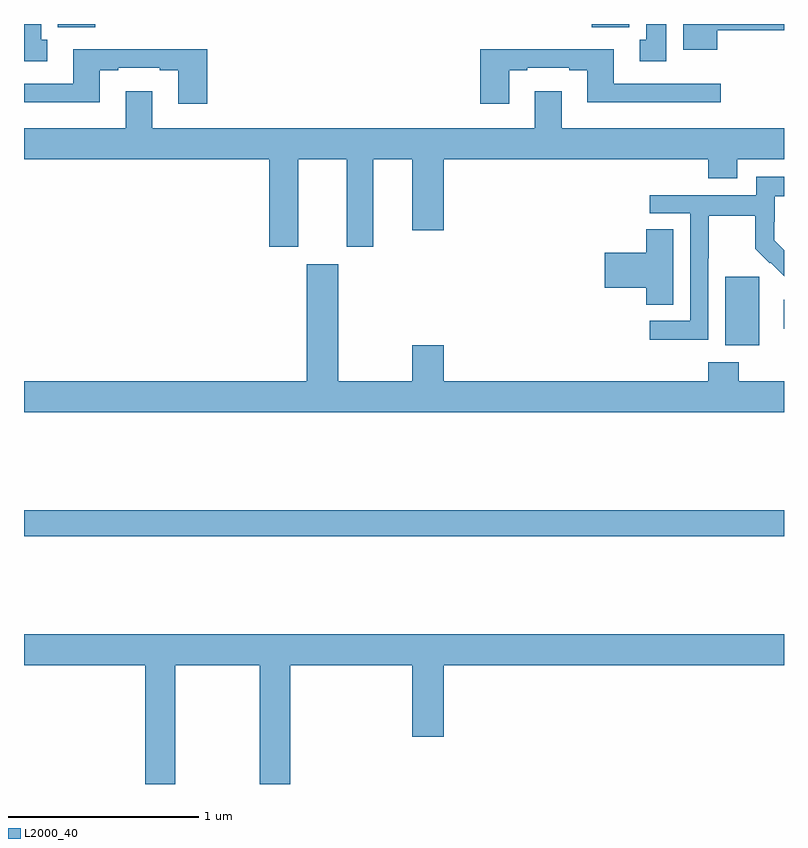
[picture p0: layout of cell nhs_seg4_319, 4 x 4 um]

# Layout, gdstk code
import gdstk
lib = gdstk.Library(unit=1e-6, precision=1e-09)
def R(c, l, rs):  # rectangles x0, y0, x1, y1
    for r in rs: c.add(gdstk.rectangle(r[:2], r[2:], *l))
def P(c, l, *ps):  # polygons
    for p in ps: c.add(gdstk.Polygon(p, *l))
L2000_40 = (2000, 40)

nhs_seg4_319 = lib.new_cell('nhs_seg4_319')
R(nhs_seg4_319, L2000_40, [(127,760.204,131,760.34), (130.691,761.21,130.87,761.571), (130.998,761.296,131,761.45), (127.178,762.884,127.375,762.9), (129.989,762.884,130.186,762.9)])
P(nhs_seg4_319, L2000_40, [(130.381,762.9),(130.274,762.9),(130.274,762.818),(130.241,762.818),(130.241,762.705),(130.381,762.705)],
  [(130.648,762.868),(131,762.868),(131,762.9),(130.469,762.9),(130.469,762.764),(130.648,762.764)],
  [(127.123,762.818),(127.09,762.818),(127.09,762.9),(127,762.9),(127,762.705),(127.123,762.705)],
  [(129.553,762.657),(129.649,762.657),(129.649,762.669),(129.869,762.669),(129.869,762.657),(129.965,762.657),(129.965,762.488),(130.666,762.488),(130.666,762.585),(130.105,762.585),(130.105,762.766),(129.401,762.766),(129.401,762.48),(129.553,762.48)],
  [(127.964,762.766),(127.259,762.766),(127.259,762.585),(127,762.585),(127,762.488),(127.399,762.488),(127.399,762.657),(127.495,762.657),(127.495,762.669),(127.715,762.669),(127.715,762.657),(127.811,762.657),(127.811,762.48),(127.964,762.48)],
  [(128.443,762.188),(128.699,762.188),(128.699,761.727),(128.839,761.727),(128.839,762.188),(129.044,762.188),(129.044,761.814),(129.208,761.814),(129.208,762.188),(130.601,762.188),(130.601,762.089),(130.753,762.089),(130.753,762.188),(131,762.188),(131,762.352),(129.829,762.352),(129.829,762.547),(129.689,762.547),(129.689,762.352),(127.675,762.352),(127.675,762.547),(127.535,762.547),(127.535,762.352),(127,762.352),(127,762.188),(128.291,762.188),(128.291,761.727),(128.443,761.727)],
  [(130.602,761.668),(130.605,761.668),(130.605,761.892),(130.849,761.892),(130.849,761.717),(130.926,761.64),(130.929,761.643),(131,761.573),(131,761.71),(130.948,761.762),(130.948,761.859),(130.95,761.859),(130.95,761.993),(131,761.993),(131,762.097),(130.854,762.097),(130.854,762),(130.293,762),(130.293,761.904),(130.506,761.904),(130.506,761.337),(130.293,761.337),(130.293,761.239),(130.602,761.239)],
  [(130.417,761.819),(130.274,761.819),(130.274,761.696),(130.056,761.696),(130.056,761.513),(130.274,761.513),(130.274,761.422),(130.417,761.422)],
  [(131,761.02),(130.761,761.02),(130.761,761.119),(130.601,761.119),(130.601,761.02),(129.208,761.02),(129.208,761.209),(129.044,761.209),(129.044,761.02),(128.653,761.02),(128.653,761.635),(128.489,761.635),(128.489,761.02),(127,761.02),(127,760.856),(131,760.856)],
  [(127.797,759.524),(128.242,759.524),(128.242,758.9),(128.402,758.9),(128.402,759.524),(129.044,759.524),(129.044,759.15),(129.208,759.15),(129.208,759.524),(131,759.524),(131,759.688),(127,759.688),(127,759.524),(127.637,759.524),(127.637,758.9),(127.797,758.9)])

lib.write_gds('nhs_seg4_319.gds')
